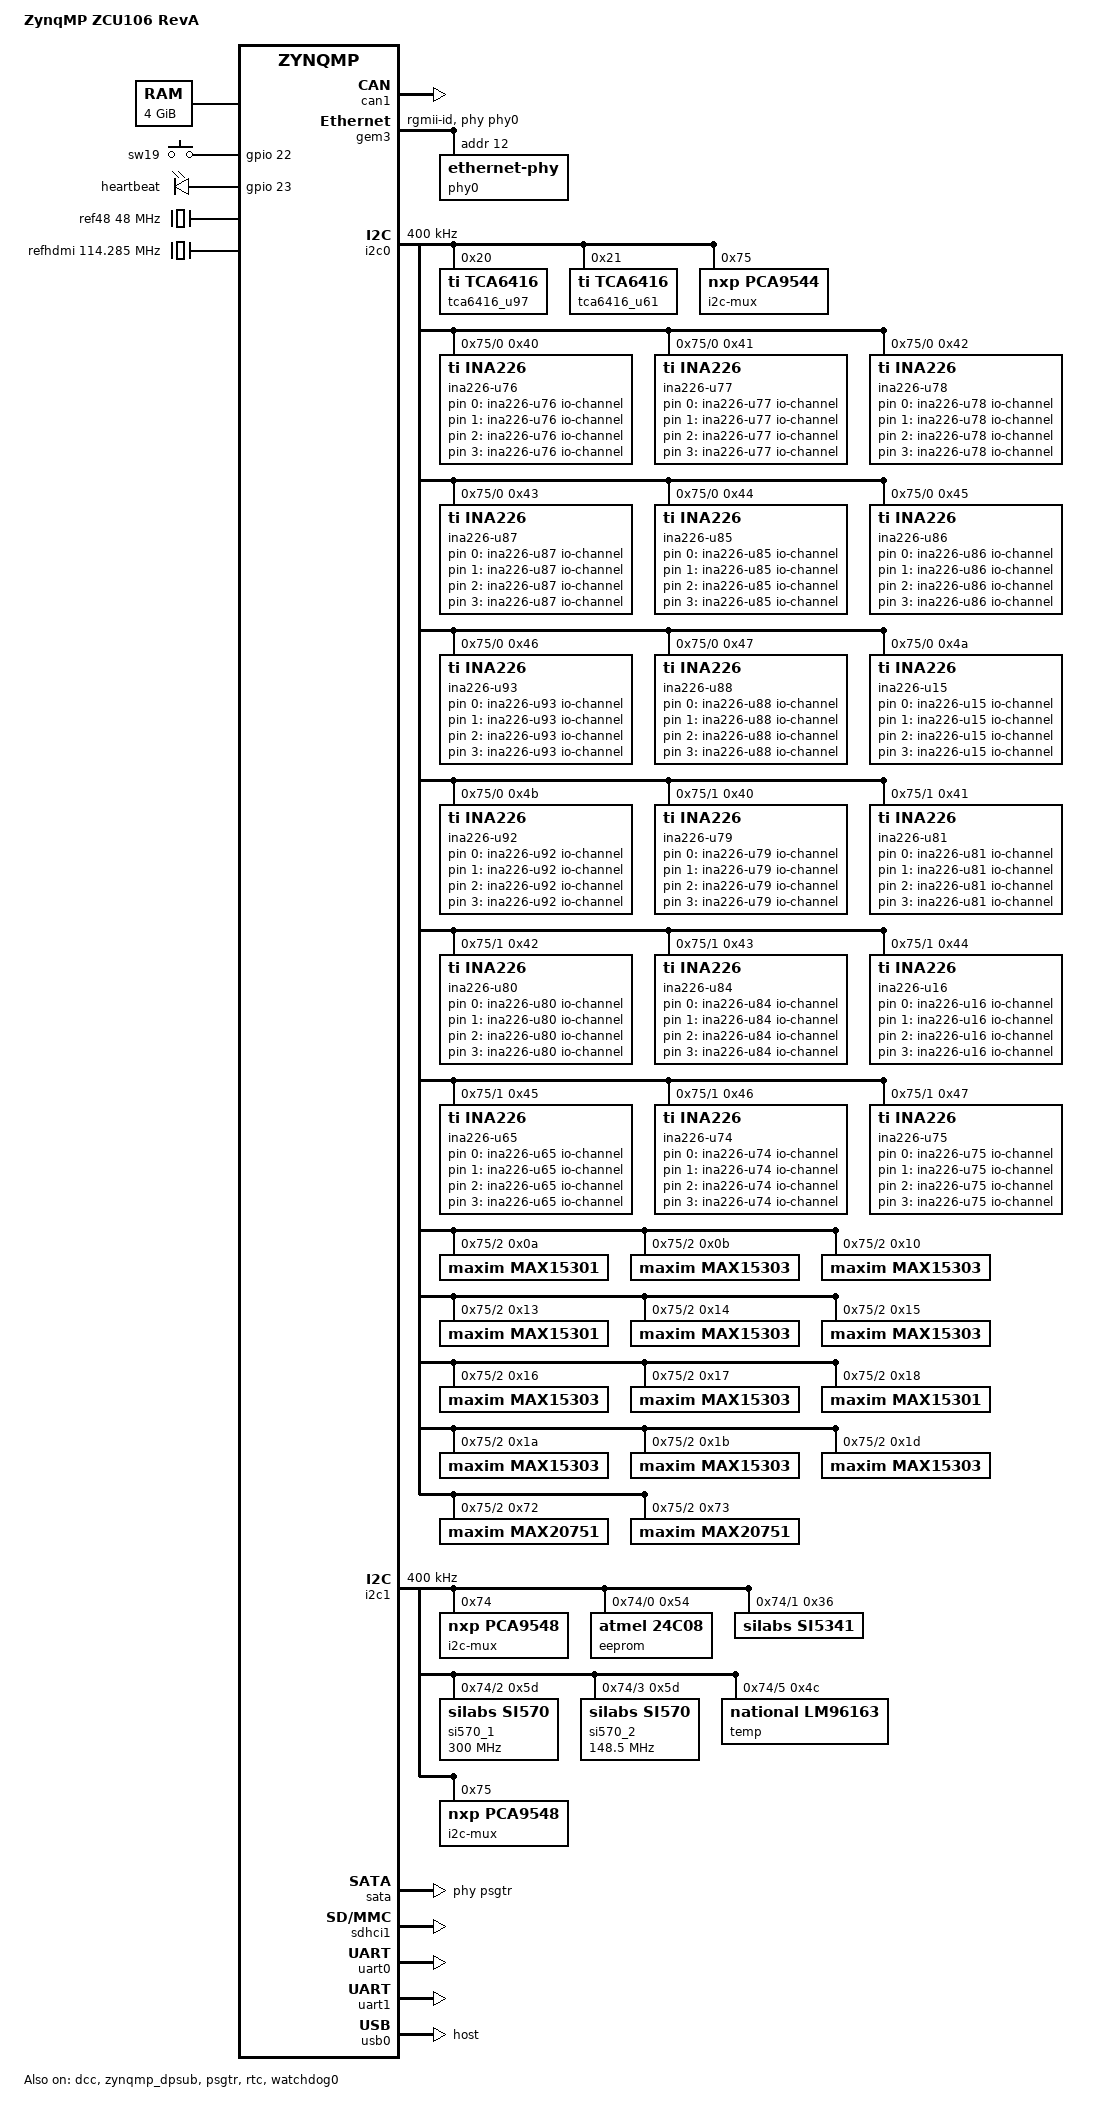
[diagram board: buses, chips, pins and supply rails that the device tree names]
// SPDX-License-Identifier: GPL-2.0+
/*
 * dts file for Xilinx ZynqMP ZCU106
 *
 * (C) Copyright 2016 - 2019, Xilinx, Inc.
 *
 * Michal Simek <michal.simek@xilinx.com>
 */

/dts-v1/;

#include "zynqmp.dtsi"
#include "zynqmp-clk-ccf.dtsi"
#include <dt-bindings/input/input.h>
#include <dt-bindings/gpio/gpio.h>
#include <dt-bindings/phy/phy.h>

/ {
	model = "ZynqMP ZCU106 RevA";
	compatible = "xlnx,zynqmp-zcu106-revA", "xlnx,zynqmp-zcu106", "xlnx,zynqmp";

	aliases {
		ethernet0 = &gem3;
		i2c0 = &i2c0;
		i2c1 = &i2c1;
		mmc0 = &sdhci1;
		rtc0 = &rtc;
		serial0 = &uart0;
		serial1 = &uart1;
		serial2 = &dcc;
	};

	chosen {
		bootargs = "earlycon";
		stdout-path = "serial0:115200n8";
	};

	memory@0 {
		device_type = "memory";
		reg = <0x0 0x0 0x0 0x80000000>, <0x8 0x00000000 0x0 0x80000000>;
	};

	gpio-keys {
		compatible = "gpio-keys";
		autorepeat;
		sw19 {
			label = "sw19";
			gpios = <&gpio 22 GPIO_ACTIVE_HIGH>;
			linux,code = <KEY_DOWN>;
			wakeup-source;
			autorepeat;
		};
	};

	leds {
		compatible = "gpio-leds";
		heartbeat-led {
			label = "heartbeat";
			gpios = <&gpio 23 GPIO_ACTIVE_HIGH>;
			linux,default-trigger = "heartbeat";
		};
	};

	ina226-u76 {
		compatible = "iio-hwmon";
		io-channels = <&u76 0>, <&u76 1>, <&u76 2>, <&u76 3>;
	};
	ina226-u77 {
		compatible = "iio-hwmon";
		io-channels = <&u77 0>, <&u77 1>, <&u77 2>, <&u77 3>;
	};
	ina226-u78 {
		compatible = "iio-hwmon";
		io-channels = <&u78 0>, <&u78 1>, <&u78 2>, <&u78 3>;
	};
	ina226-u87 {
		compatible = "iio-hwmon";
		io-channels = <&u87 0>, <&u87 1>, <&u87 2>, <&u87 3>;
	};
	ina226-u85 {
		compatible = "iio-hwmon";
		io-channels = <&u85 0>, <&u85 1>, <&u85 2>, <&u85 3>;
	};
	ina226-u86 {
		compatible = "iio-hwmon";
		io-channels = <&u86 0>, <&u86 1>, <&u86 2>, <&u86 3>;
	};
	ina226-u93 {
		compatible = "iio-hwmon";
		io-channels = <&u93 0>, <&u93 1>, <&u93 2>, <&u93 3>;
	};
	ina226-u88 {
		compatible = "iio-hwmon";
		io-channels = <&u88 0>, <&u88 1>, <&u88 2>, <&u88 3>;
	};
	ina226-u15 {
		compatible = "iio-hwmon";
		io-channels = <&u15 0>, <&u15 1>, <&u15 2>, <&u15 3>;
	};
	ina226-u92 {
		compatible = "iio-hwmon";
		io-channels = <&u92 0>, <&u92 1>, <&u92 2>, <&u92 3>;
	};
	ina226-u79 {
		compatible = "iio-hwmon";
		io-channels = <&u79 0>, <&u79 1>, <&u79 2>, <&u79 3>;
	};
	ina226-u81 {
		compatible = "iio-hwmon";
		io-channels = <&u81 0>, <&u81 1>, <&u81 2>, <&u81 3>;
	};
	ina226-u80 {
		compatible = "iio-hwmon";
		io-channels = <&u80 0>, <&u80 1>, <&u80 2>, <&u80 3>;
	};
	ina226-u84 {
		compatible = "iio-hwmon";
		io-channels = <&u84 0>, <&u84 1>, <&u84 2>, <&u84 3>;
	};
	ina226-u16 {
		compatible = "iio-hwmon";
		io-channels = <&u16 0>, <&u16 1>, <&u16 2>, <&u16 3>;
	};
	ina226-u65 {
		compatible = "iio-hwmon";
		io-channels = <&u65 0>, <&u65 1>, <&u65 2>, <&u65 3>;
	};
	ina226-u74 {
		compatible = "iio-hwmon";
		io-channels = <&u74 0>, <&u74 1>, <&u74 2>, <&u74 3>;
	};
	ina226-u75 {
		compatible = "iio-hwmon";
		io-channels = <&u75 0>, <&u75 1>, <&u75 2>, <&u75 3>;
	};

	/* 48MHz reference crystal */
	ref48: ref48M {
		compatible = "fixed-clock";
		#clock-cells = <0>;
		clock-frequency = <48000000>;
	};

	refhdmi: refhdmi {
		compatible = "fixed-clock";
		#clock-cells = <0>;
		clock-frequency = <114285000>;
	};
};

&can1 {
	status = "okay";
};

&dcc {
	status = "okay";
};

&zynqmp_dpdma {
	status = "okay";
};

&zynqmp_dpsub {
	status = "okay";
	phy-names = "dp-phy0", "dp-phy1";
	phys = <&psgtr 1 PHY_TYPE_DP 0 3>,
	       <&psgtr 0 PHY_TYPE_DP 1 3>;
};

/* fpd_dma clk 667MHz, lpd_dma 500MHz */
&fpd_dma_chan1 {
	status = "okay";
};

&fpd_dma_chan2 {
	status = "okay";
};

&fpd_dma_chan3 {
	status = "okay";
};

&fpd_dma_chan4 {
	status = "okay";
};

&fpd_dma_chan5 {
	status = "okay";
};

&fpd_dma_chan6 {
	status = "okay";
};

&fpd_dma_chan7 {
	status = "okay";
};

&fpd_dma_chan8 {
	status = "okay";
};

&gem3 {
	status = "okay";
	phy-handle = <&phy0>;
	phy-mode = "rgmii-id";
	phy0: ethernet-phy@c {
		reg = <0xc>;
		ti,rx-internal-delay = <0x8>;
		ti,tx-internal-delay = <0xa>;
		ti,fifo-depth = <0x1>;
		ti,dp83867-rxctrl-strap-quirk;
	};
};

&gpio {
	status = "okay";
};

&i2c0 {
	status = "okay";
	clock-frequency = <400000>;

	tca6416_u97: gpio@20 {
		compatible = "ti,tca6416";
		reg = <0x20>;
		gpio-controller; /* interrupt not connected */
		#gpio-cells = <2>;
		/*
		 * IRQ not connected
		 * Lines:
		 * 0 - SFP_SI5328_INT_ALM
		 * 1 - HDMI_SI5328_INT_ALM
		 * 5 - IIC_MUX_RESET_B
		 * 6 - GEM3_EXP_RESET_B
		 * 10 - FMC_HPC0_PRSNT_M2C_B
		 * 11 - FMC_HPC1_PRSNT_M2C_B
		 * 2-4, 7, 12-17 - not connected
		 */
	};

	tca6416_u61: gpio@21 {
		compatible = "ti,tca6416";
		reg = <0x21>;
		gpio-controller;
		#gpio-cells = <2>;
		/*
		 * IRQ not connected
		 * Lines:
		 * 0 - VCCPSPLL_EN
		 * 1 - MGTRAVCC_EN
		 * 2 - MGTRAVTT_EN
		 * 3 - VCCPSDDRPLL_EN
		 * 4 - MIO26_PMU_INPUT_LS
		 * 5 - PL_PMBUS_ALERT
		 * 6 - PS_PMBUS_ALERT
		 * 7 - MAXIM_PMBUS_ALERT
		 * 10 - PL_DDR4_VTERM_EN
		 * 11 - PL_DDR4_VPP_2V5_EN
		 * 12 - PS_DIMM_VDDQ_TO_PSVCCO_ON
		 * 13 - PS_DIMM_SUSPEND_EN
		 * 14 - PS_DDR4_VTERM_EN
		 * 15 - PS_DDR4_VPP_2V5_EN
		 * 16 - 17 - not connected
		 */
	};

	i2c-mux@75 { /* u60 */
		compatible = "nxp,pca9544";
		#address-cells = <1>;
		#size-cells = <0>;
		reg = <0x75>;
		i2c@0 {
			#address-cells = <1>;
			#size-cells = <0>;
			reg = <0>;
			/* PS_PMBUS */
			u76: ina226@40 { /* u76 */
				compatible = "ti,ina226";
				#io-channel-cells = <1>;
				label = "ina226-u76";
				reg = <0x40>;
				shunt-resistor = <5000>;
			};
			u77: ina226@41 { /* u77 */
				compatible = "ti,ina226";
				#io-channel-cells = <1>;
				label = "ina226-u77";
				reg = <0x41>;
				shunt-resistor = <5000>;
			};
			u78: ina226@42 { /* u78 */
				compatible = "ti,ina226";
				#io-channel-cells = <1>;
				label = "ina226-u78";
				reg = <0x42>;
				shunt-resistor = <5000>;
			};
			u87: ina226@43 { /* u87 */
				compatible = "ti,ina226";
				#io-channel-cells = <1>;
				label = "ina226-u87";
				reg = <0x43>;
				shunt-resistor = <5000>;
			};
			u85: ina226@44 { /* u85 */
				compatible = "ti,ina226";
				#io-channel-cells = <1>;
				label = "ina226-u85";
				reg = <0x44>;
				shunt-resistor = <5000>;
			};
			u86: ina226@45 { /* u86 */
				compatible = "ti,ina226";
				#io-channel-cells = <1>;
				label = "ina226-u86";
				reg = <0x45>;
				shunt-resistor = <5000>;
			};
			u93: ina226@46 { /* u93 */
				compatible = "ti,ina226";
				#io-channel-cells = <1>;
				label = "ina226-u93";
				reg = <0x46>;
				shunt-resistor = <5000>;
			};
			u88: ina226@47 { /* u88 */
				compatible = "ti,ina226";
				#io-channel-cells = <1>;
				label = "ina226-u88";
				reg = <0x47>;
				shunt-resistor = <5000>;
			};
			u15: ina226@4a { /* u15 */
				compatible = "ti,ina226";
				#io-channel-cells = <1>;
				label = "ina226-u15";
				reg = <0x4a>;
				shunt-resistor = <5000>;
			};
			u92: ina226@4b { /* u92 */
				compatible = "ti,ina226";
				#io-channel-cells = <1>;
				label = "ina226-u92";
				reg = <0x4b>;
				shunt-resistor = <5000>;
			};
		};
		i2c@1 {
			#address-cells = <1>;
			#size-cells = <0>;
			reg = <1>;
			/* PL_PMBUS */
			u79: ina226@40 { /* u79 */
				compatible = "ti,ina226";
				#io-channel-cells = <1>;
				label = "ina226-u79";
				reg = <0x40>;
				shunt-resistor = <2000>;
			};
			u81: ina226@41 { /* u81 */
				compatible = "ti,ina226";
				#io-channel-cells = <1>;
				label = "ina226-u81";
				reg = <0x41>;
				shunt-resistor = <5000>;
			};
			u80: ina226@42 { /* u80 */
				compatible = "ti,ina226";
				#io-channel-cells = <1>;
				label = "ina226-u80";
				reg = <0x42>;
				shunt-resistor = <5000>;
			};
			u84: ina226@43 { /* u84 */
				compatible = "ti,ina226";
				#io-channel-cells = <1>;
				label = "ina226-u84";
				reg = <0x43>;
				shunt-resistor = <5000>;
			};
			u16: ina226@44 { /* u16 */
				compatible = "ti,ina226";
				#io-channel-cells = <1>;
				label = "ina226-u16";
				reg = <0x44>;
				shunt-resistor = <5000>;
			};
			u65: ina226@45 { /* u65 */
				compatible = "ti,ina226";
				#io-channel-cells = <1>;
				label = "ina226-u65";
				reg = <0x45>;
				shunt-resistor = <5000>;
			};
			u74: ina226@46 { /* u74 */
				compatible = "ti,ina226";
				#io-channel-cells = <1>;
				label = "ina226-u74";
				reg = <0x46>;
				shunt-resistor = <5000>;
			};
			u75: ina226@47 { /* u75 */
				compatible = "ti,ina226";
				#io-channel-cells = <1>;
				label = "ina226-u75";
				reg = <0x47>;
				shunt-resistor = <5000>;
			};
		};
		i2c@2 {
			#address-cells = <1>;
			#size-cells = <0>;
			reg = <2>;
			/* MAXIM_PMBUS - 00 */
			max15301@a { /* u46 */
				compatible = "maxim,max15301";
				reg = <0xa>;
			};
			max15303@b { /* u4 */
				compatible = "maxim,max15303";
				reg = <0xb>;
			};
			max15303@10 { /* u13 */
				compatible = "maxim,max15303";
				reg = <0x10>;
			};
			max15301@13 { /* u47 */
				compatible = "maxim,max15301";
				reg = <0x13>;
			};
			max15303@14 { /* u7 */
				compatible = "maxim,max15303";
				reg = <0x14>;
			};
			max15303@15 { /* u6 */
				compatible = "maxim,max15303";
				reg = <0x15>;
			};
			max15303@16 { /* u10 */
				compatible = "maxim,max15303";
				reg = <0x16>;
			};
			max15303@17 { /* u9 */
				compatible = "maxim,max15303";
				reg = <0x17>;
			};
			max15301@18 { /* u63 */
				compatible = "maxim,max15301";
				reg = <0x18>;
			};
			max15303@1a { /* u49 */
				compatible = "maxim,max15303";
				reg = <0x1a>;
			};
			max15303@1b { /* u8 */
				compatible = "maxim,max15303";
				reg = <0x1b>;
			};
			max15303@1d { /* u18 */
				compatible = "maxim,max15303";
				reg = <0x1d>;
			};

			max20751@72 { /* u95 */
				compatible = "maxim,max20751";
				reg = <0x72>;
			};
			max20751@73 { /* u96 */
				compatible = "maxim,max20751";
				reg = <0x73>;
			};
		};
		/* Bus 3 is not connected */
	};
};

&i2c1 {
	status = "okay";
	clock-frequency = <400000>;

	/* PL i2c via PCA9306 - u45 */
	i2c-mux@74 { /* u34 */
		compatible = "nxp,pca9548";
		#address-cells = <1>;
		#size-cells = <0>;
		reg = <0x74>;
		i2c@0 {
			#address-cells = <1>;
			#size-cells = <0>;
			reg = <0>;
			/*
			 * IIC_EEPROM 1kB memory which uses 256B blocks
			 * where every block has different address.
			 *    0 - 256B address 0x54
			 * 256B - 512B address 0x55
			 * 512B - 768B address 0x56
			 * 768B - 1024B address 0x57
			 */
			eeprom: eeprom@54 { /* u23 */
				compatible = "atmel,24c08";
				reg = <0x54>;
			};
		};
		i2c@1 {
			#address-cells = <1>;
			#size-cells = <0>;
			reg = <1>;
			si5341: clock-generator@36 { /* SI5341 - u69 */
				compatible = "silabs,si5341";
				reg = <0x36>;
				#clock-cells = <2>;
				#address-cells = <1>;
				#size-cells = <0>;
				clocks = <&ref48>;
				clock-names = "xtal";
				clock-output-names = "si5341";

				si5341_0: out@0 {
					/* refclk0 for PS-GT, used for DP */
					reg = <0>;
					always-on;
				};
				si5341_2: out@2 {
					/* refclk2 for PS-GT, used for USB3 */
					reg = <2>;
					always-on;
				};
				si5341_3: out@3 {
					/* refclk3 for PS-GT, used for SATA */
					reg = <3>;
					always-on;
				};
				si5341_6: out@6 {
					/* refclk6 PL CLK125 */
					reg = <6>;
					always-on;
				};
				si5341_7: out@7 {
					/* refclk7 PL CLK74 */
					reg = <7>;
					always-on;
				};
				si5341_9: out@9 {
					/* refclk9 used for PS_REF_CLK 33.3 MHz */
					reg = <9>;
					always-on;
				};
			};

		};
		i2c@2 {
			#address-cells = <1>;
			#size-cells = <0>;
			reg = <2>;
			si570_1: clock-generator@5d { /* USER SI570 - u42 */
				#clock-cells = <0>;
				compatible = "silabs,si570";
				reg = <0x5d>;
				temperature-stability = <50>;
				factory-fout = <300000000>;
				clock-frequency = <300000000>;
				clock-output-names = "si570_user";
			};
		};
		i2c@3 {
			#address-cells = <1>;
			#size-cells = <0>;
			reg = <3>;
			si570_2: clock-generator@5d { /* USER MGT SI570 - u56 */
				#clock-cells = <0>;
				compatible = "silabs,si570";
				reg = <0x5d>;
				temperature-stability = <50>; /* copy from zc702 */
				factory-fout = <156250000>;
				clock-frequency = <148500000>;
				clock-output-names = "si570_mgt";
			};
		};
		i2c@4 {
			#address-cells = <1>;
			#size-cells = <0>;
			reg = <4>;
			/* SI5328 - u20 */
		};
		i2c@5 {
			#address-cells = <1>;
			#size-cells = <0>;
			reg = <5>; /* FAN controller */
			temp@4c {/* lm96163 - u128 */
				compatible = "national,lm96163";
				reg = <0x4c>;
			};
		};
		/* 6 - 7 unconnected */
	};

	i2c-mux@75 {
		compatible = "nxp,pca9548"; /* u135 */
		#address-cells = <1>;
		#size-cells = <0>;
		reg = <0x75>;

		i2c@0 {
			#address-cells = <1>;
			#size-cells = <0>;
			reg = <0>;
			/* HPC0_IIC */
		};
		i2c@1 {
			#address-cells = <1>;
			#size-cells = <0>;
			reg = <1>;
			/* HPC1_IIC */
		};
		i2c@2 {
			#address-cells = <1>;
			#size-cells = <0>;
			reg = <2>;
			/* SYSMON */
		};
		i2c@3 {
			#address-cells = <1>;
			#size-cells = <0>;
			reg = <3>;
			/* DDR4 SODIMM */
		};
		i2c@4 {
			#address-cells = <1>;
			#size-cells = <0>;
			reg = <4>;
			/* SEP 3 */
		};
		i2c@5 {
			#address-cells = <1>;
			#size-cells = <0>;
			reg = <5>;
			/* SEP 2 */
		};
		i2c@6 {
			#address-cells = <1>;
			#size-cells = <0>;
			reg = <6>;
			/* SEP 1 */
		};
		i2c@7 {
			#address-cells = <1>;
			#size-cells = <0>;
			reg = <7>;
			/* SEP 0 */
		};
	};
};

&psgtr {
	status = "okay";
	/* nc, sata, usb3, dp */
	clocks = <&si5341 0 3>, <&si5341 0 2>, <&si5341 0 0>;
	clock-names = "ref1", "ref2", "ref3";
};

&rtc {
	status = "okay";
};

&sata {
	status = "okay";
	/* SATA OOB timing settings */
	ceva,p0-cominit-params = /bits/ 8 <0x18 0x40 0x18 0x28>;
	ceva,p0-comwake-params = /bits/ 8 <0x06 0x14 0x08 0x0E>;
	ceva,p0-burst-params = /bits/ 8 <0x13 0x08 0x4A 0x06>;
	ceva,p0-retry-params = /bits/ 16 <0x96A4 0x3FFC>;
	ceva,p1-cominit-params = /bits/ 8 <0x18 0x40 0x18 0x28>;
	ceva,p1-comwake-params = /bits/ 8 <0x06 0x14 0x08 0x0E>;
	ceva,p1-burst-params = /bits/ 8 <0x13 0x08 0x4A 0x06>;
	ceva,p1-retry-params = /bits/ 16 <0x96A4 0x3FFC>;
	phy-names = "sata-phy";
	phys = <&psgtr 3 PHY_TYPE_SATA 1 1>;
};

/* SD1 with level shifter */
&sdhci1 {
	status = "okay";
	no-1-8-v;
	xlnx,mio-bank = <1>;
};

&uart0 {
	status = "okay";
};

&uart1 {
	status = "okay";
};

/* ULPI SMSC USB3320 */
&usb0 {
	status = "okay";
	dr_mode = "host";
};

&watchdog0 {
	status = "okay";
};
